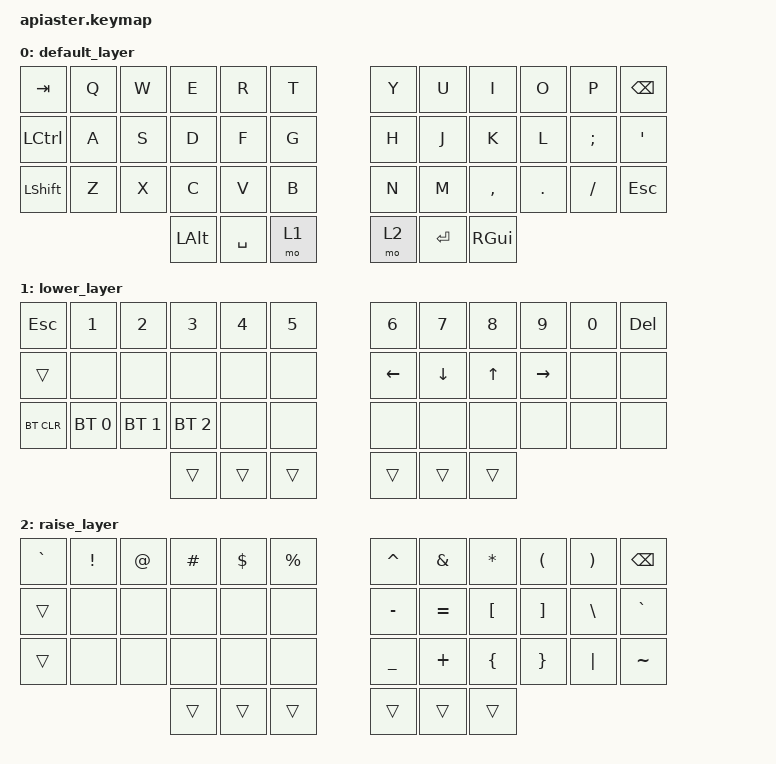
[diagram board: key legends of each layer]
#include <behaviors.dtsi>
#include <dt-bindings/zmk/keys.h>
#include <dt-bindings/zmk/bt.h>

/ {
    keymap {
        compatible = "zmk,keymap";

        default_layer {
            bindings = <
                &kp TAB   &kp Q &kp W &kp E &kp R &kp T         &kp Y &kp U &kp I     &kp O   &kp P    &kp BSPC
                &kp LCTRL &kp A &kp S &kp D &kp F &kp G         &kp H &kp J &kp K     &kp L   &kp SEMI &kp SQT
                &kp LSHFT &kp Z &kp X &kp C &kp V &kp B         &kp N &kp M &kp COMMA &kp DOT &kp FSLH &kp ESC
                                &kp LALT &kp SPACE &mo 1       &mo 2 &kp ENTER &kp RGUI
            >;
        };

        lower_layer {
            bindings = <
                &kp ESC    &kp N1 &kp N2 &kp N3 &kp N4 &kp N5   &kp N6   &kp N7   &kp N8   &kp N9    &kp N0    &kp DEL
                &trans     &none  &none  &none  &none  &none    &kp LEFT &kp DOWN &kp UP   &kp RIGHT &none     &none
                &bt BT_CLR &bt BT_SEL 0 &bt BT_SEL 1 &bt BT_SEL 2 &none &none   &none &none &none &none &none &none
                                         &trans &trans &trans   &trans   &trans   &trans
            >;
        };

        raise_layer {
            bindings = <
                &kp GRAVE &kp EXCL &kp AT &kp HASH &kp DLLR &kp PRCNT   &kp CARET &kp AMPS &kp ASTRK &kp LPAR &kp RPAR &kp BSPC
                &trans    &none    &none  &none    &none    &none       &kp MINUS &kp EQUAL &kp LBKT &kp RBKT &kp BSLH &kp GRAVE
                &trans    &none    &none  &none    &none    &none       &kp UNDER &kp PLUS  &kp LBRC &kp RBRC &kp PIPE &kp TILDE
                                          &trans   &trans   &trans      &trans    &trans    &trans
            >;
        };
    };
};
